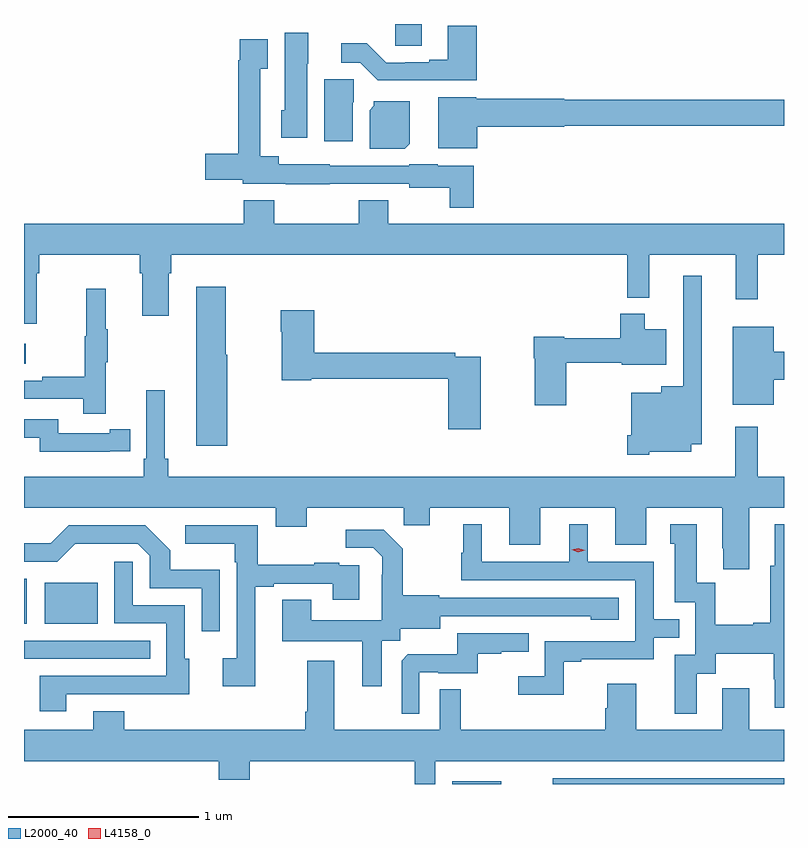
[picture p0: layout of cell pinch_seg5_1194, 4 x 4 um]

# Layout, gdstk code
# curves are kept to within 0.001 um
import gdstk
lib = gdstk.Library(unit=1e-6, precision=1e-09)
def R(c, l, rs):  # rectangles x0, y0, x1, y1
    for r in rs: c.add(gdstk.rectangle(r[:2], r[2:], *l))
def P(c, l, *ps):  # polygons
    for p in ps: c.add(gdstk.Polygon(p, *l))
L2000_40 = (2000, 40)
L4158_0 = (4158, 0)

pinch_seg5_1194 = lib.new_cell('pinch_seg5_1194')
R(pinch_seg5_1194, L2000_40, [(459.504,899.263,459.76,899.277), (460.032,899.263,461.249,899.292), (457.249,899.922,457.913,900.018), (457.249,900.107,457.264,900.343), (457.358,900.107,457.636,900.322), (457.249,901.475,457.258,901.579), (459.204,903.148,459.343,903.263)])
P(pinch_seg5_1194, L2000_40, [(459.632,903.253),(459.479,903.253),(459.479,903.076),(459.383,903.076),(459.383,903.063),(459.256,903.063),(459.256,903.06),(459.156,903.06),(459.054,903.163),(458.919,903.163),(458.919,903.06),(459.018,903.06),(459.112,902.966),(459.632,902.966)],
  [(458.74,903.054),(458.746,903.054),(458.746,903.217),(458.621,903.217),(458.621,902.808),(458.603,902.808),(458.603,902.664),(458.74,902.664)],
  [(459.617,902.518),(459.426,902.518),(459.426,902.524),(459.276,902.524),(459.276,902.517),(458.859,902.517),(458.859,902.524),(458.59,902.524),(458.59,902.566),(458.493,902.566),(458.493,903.028),(458.533,903.028),(458.533,903.184),(458.385,903.184),(458.385,903.071),(458.377,903.071),(458.377,902.579),(458.202,902.579),(458.202,902.444),(458.4,902.444),(458.4,902.421),(458.627,902.421),(458.627,902.42),(458.859,902.42),(458.859,902.421),(459.276,902.421),(459.276,902.402),(459.489,902.402),(459.489,902.297),(459.617,902.297)],
  [(458.98,902.85),(458.984,902.85),(458.984,902.973),(458.828,902.973),(458.828,902.646),(458.98,902.646)],
  [(459.634,902.723),(460.092,902.723),(460.092,902.728),(461.249,902.728),(461.249,902.864),(460.092,902.864),(460.092,902.87),(459.63,902.87),(459.63,902.878),(459.428,902.878),(459.428,902.609),(459.634,902.609)],
  [(459.28,902.632),(459.28,902.857),(459.09,902.857),(459.09,902.832),(459.068,902.81),(459.068,902.606),(459.254,902.606)],
  [(457.315,901.952),(457.328,901.952),(457.328,902.048),(457.859,902.048),(457.859,901.952),(457.871,901.952),(457.871,901.728),(458.011,901.728),(458.011,901.952),(458.024,901.952),(458.024,902.048),(460.423,902.048),(460.423,901.823),(460.541,901.823),(460.541,902.048),(460.994,902.048),(460.994,901.815),(461.111,901.815),(461.111,902.048),(461.249,902.048),(461.249,902.212),(459.165,902.212),(459.165,902.336),(459.01,902.336),(459.01,902.212),(458.565,902.212),(458.565,902.335),(458.405,902.335),(458.405,902.212),(457.249,902.212),(457.249,901.686),(457.315,901.686)],
  [(460.539,901.013),(460.762,901.013),(460.762,901.052),(460.816,901.052),(460.816,901.939),(460.719,901.939),(460.719,901.357),(460.604,901.357),(460.604,901.321),(460.445,901.321),(460.445,901.099),(460.424,901.099),(460.424,900.995),(460.539,900.995)],
  [(458.32,901.521),(458.31,901.521),(458.31,901.879),(458.156,901.879),(458.156,901.044),(458.32,901.044)],
  [(457.679,901.483),(457.69,901.483),(457.69,901.657),(457.679,901.657),(457.679,901.87),(457.576,901.87),(457.576,901.62),(457.569,901.62),(457.569,901.406),(457.345,901.406),(457.345,901.386),(457.249,901.386),(457.249,901.29),(457.561,901.29),(457.561,901.212),(457.679,901.212)],
  [(459.652,901.512),(459.518,901.512),(459.518,901.532),(458.777,901.532),(458.777,901.756),(458.599,901.756),(458.599,901.643),(458.606,901.643),(458.606,901.388),(458.76,901.388),(458.76,901.396),(459.482,901.396),(459.482,901.131),(459.652,901.131)],
  [(460.104,901.48),(460.394,901.48),(460.394,901.469),(460.63,901.469),(460.63,901.657),(460.516,901.657),(460.516,901.738),(460.387,901.738),(460.387,901.609),(460.092,901.609),(460.092,901.617),(459.931,901.617),(459.931,901.505),(459.938,901.505),(459.938,901.257),(460.104,901.257)],
  [(461.194,901.391),(461.249,901.391),(461.249,901.538),(461.194,901.538),(461.194,901.669),(460.979,901.669),(460.979,901.259),(461.194,901.259)],
  [(458.573,900.617),(458.737,900.617),(458.737,900.716),(459.247,900.716),(459.247,900.626),(459.385,900.626),(459.385,900.716),(459.803,900.716),(459.803,900.522),(459.967,900.522),(459.967,900.716),(460.361,900.716),(460.361,900.522),(460.525,900.522),(460.525,900.716),(460.925,900.716),(460.925,900.505),(460.928,900.505),(460.928,900.393),(461.065,900.393),(461.065,900.716),(461.249,900.716),(461.249,900.88),(461.111,900.88),(461.111,901.144),(460.993,901.144),(460.993,900.88),(458.009,900.88),(458.009,900.976),(457.99,900.976),(457.99,901.336),(457.893,901.336),(457.893,900.976),(457.88,900.976),(457.88,900.88),(457.249,900.88),(457.249,900.716),(458.573,900.716)],
  [(457.7,901.014),(457.808,901.014),(457.808,901.13),(457.7,901.13),(457.7,901.11),(457.428,901.11),(457.428,901.182),(457.249,901.182),(457.249,901.086),(457.332,901.086),(457.332,901.013),(457.7,901.013)],
  [(460.089,899.907),(460.183,899.907),(460.183,899.919),(460.563,899.919),(460.563,900.033),(460.697,900.033),(460.697,900.129),(460.563,900.129),(460.563,900.432),(460.216,900.432),(460.216,900.631),(460.118,900.631),(460.118,900.432),(459.658,900.432),(459.658,900.631),(459.56,900.631),(459.56,900.48),(459.549,900.48),(459.549,900.336),(460.467,900.336),(460.467,900.015),(459.99,900.015),(459.99,899.83),(459.849,899.83),(459.849,899.732),(460.089,899.732)],
  [(460.789,899.842),(460.891,899.842),(460.891,899.948),(461.194,899.948),(461.194,899.814),(461.201,899.814),(461.201,899.664),(461.249,899.664),(461.249,900.631),(461.201,900.631),(461.201,900.411),(461.176,900.411),(461.176,900.113),(461.087,900.113),(461.087,900.1),(460.887,900.1),(460.887,900.323),(460.789,900.323),(460.789,900.631),(460.649,900.631),(460.649,900.528),(460.673,900.528),(460.673,900.219),(460.782,900.219),(460.782,899.943),(460.673,899.943),(460.673,899.634),(460.789,899.634)],
  [(458.28,900.391),(458.019,900.391),(458.019,900.494),(457.888,900.624),(457.485,900.624),(457.391,900.53),(457.249,900.53),(457.249,900.432),(457.425,900.432),(457.52,900.527),(457.848,900.528),(457.911,900.465),(457.911,900.294),(458.184,900.294),(458.184,900.066),(458.28,900.066)],
  [(458.467,900.3),(458.563,900.3),(458.563,900.318),(458.873,900.318),(458.873,900.234),(459.013,900.234),(459.013,900.414),(458.909,900.414),(458.909,900.427),(458.777,900.427),(458.777,900.416),(458.479,900.416),(458.479,900.624),(458.097,900.624),(458.097,900.527),(458.358,900.527),(458.358,900.431),(458.37,900.431),(458.37,899.926),(458.295,899.926),(458.295,899.778),(458.467,899.778)],
  [(459.133,900.016),(459.228,900.016),(459.228,900.08),(459.439,900.08),(459.439,900.147),(460.233,900.146),(460.233,900.128),(460.378,900.128),(460.378,900.243),(459.435,900.243),(459.435,900.256),(459.243,900.256),(459.243,900.501),(459.143,900.601),(458.943,900.601),(458.943,900.507),(459.087,900.507),(459.134,900.46),(459.134,900.365),(459.132,900.365),(459.132,900.124),(458.761,900.124),(458.761,900.233),(458.609,900.233),(458.609,900.014),(459.029,900.014),(459.029,899.778),(459.133,899.778)],
  [(457.471,899.736),(457.901,899.736),(457.901,899.735),(458.119,899.735),(458.119,899.922),(458.094,899.922),(458.094,900.204),(457.821,900.204),(457.821,900.433),(457.725,900.433),(457.725,900.108),(457.998,900.108),(457.998,899.832),(457.331,899.832),(457.331,899.646),(457.471,899.646)],
  [(459.33,899.85),(459.43,899.85),(459.43,899.847),(459.638,899.847),(459.638,899.949),(459.761,899.949),(459.761,899.96),(459.905,899.96),(459.905,900.057),(459.528,900.057),(459.528,899.945),(459.269,899.945),(459.237,899.913),(459.237,899.633),(459.33,899.633)],
  [(459.414,899.384),(461.249,899.384),(461.249,899.548),(461.065,899.548),(461.065,899.767),(460.925,899.767),(460.925,899.548),(460.471,899.548),(460.471,899.791),(460.319,899.791),(460.319,899.661),(460.307,899.661),(460.307,899.548),(459.547,899.548),(459.547,899.762),(459.438,899.762),(459.438,899.548),(458.881,899.548),(458.881,899.911),(458.741,899.911),(458.741,899.644),(458.729,899.644),(458.729,899.548),(457.777,899.548),(457.777,899.647),(457.613,899.647),(457.613,899.548),(457.249,899.548),(457.249,899.384),(458.273,899.384),(458.273,899.285),(458.438,899.285),(458.438,899.384),(459.306,899.384),(459.306,899.263),(459.414,899.263)])
P(pinch_seg5_1194, L4158_0, [(460.167,900.484),(460.131,900.495),(460.131,900.495),(460.131,900.496),(460.167,900.504),(460.203,900.493),(460.203,900.493),(460.203,900.493)])

lib.write_gds('pinch_seg5_1194.gds')
